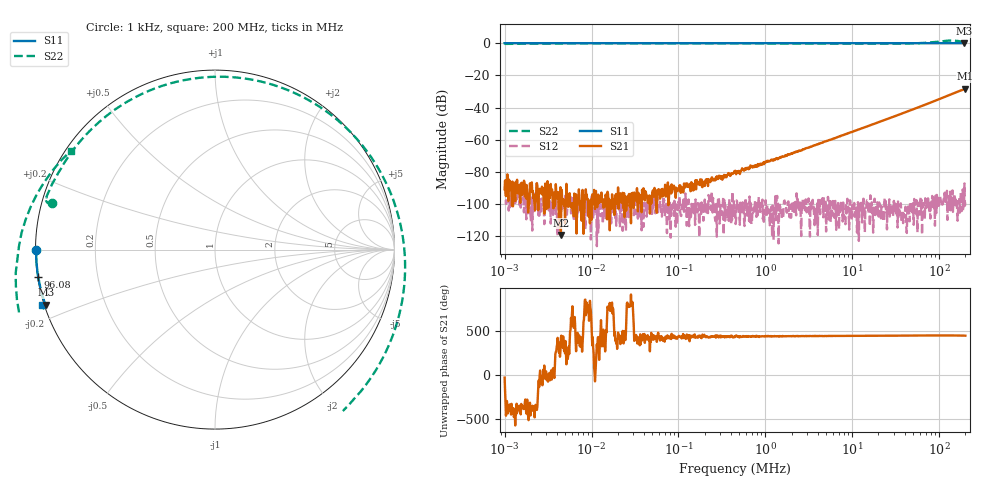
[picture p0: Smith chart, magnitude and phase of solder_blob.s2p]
! ListType=Log
# MHZ S RI R 50
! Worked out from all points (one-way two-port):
!   1000 points, 1 kHz to 200 MHz, reference 50 ohm
!   highest |S21| = -28.34 dB at 200 MHz (marker M1); lowest = -119.0 dB at 4.44 kHz (marker M2)
!   lowest |S11| = -0.1 dB at 192.8 MHz (marker M3), VSWR 204.62, Z = 0.251 - j7.95 ohm
!   |S11| at or under -10 dB: nowhere
!   |S22| runs from -0.5 to 1.7 dB; largest |S21 - S12| = 0.038
!   S11 on the Smith chart (normalised r, x): 1 kHz: 0.00, -0.00; 96.08 MHz: 0.00, -0.08; 200 MHz: -0.01, -0.16
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0.001  -0.9949 -0.000443  2.56e-05 -1.39e-05  -1.15e-05 -2.99e-05  -0.9089 0.26
0.0044399  -0.9956 -0.000335  5e-07 1e-06  7e-07 -4.3e-06  -0.9393 0.2685
0.0076941  -0.9957 -0.000228  2.5e-06 1.8e-06  -2.1e-06 8.4e-06  -0.9422 0.2759
0.0584804  -0.9957 -0.000115  -1.43e-05 2.03e-05  1.1e-06 -7.5e-06  -0.9406 0.2882
0.4499541  -0.9958 -0.000847  1.3e-05 0.000109  1.8e-06 7.1e-06  -0.9349 0.303
3.419952  -0.996 -0.00555  4.66e-05 0.000619  -1.8e-06 -7.2e-06  -0.8867 0.4028
12.03851  -0.9959 -0.0196  6.39e-05 0.00214  -7.5e-06 -3e-07  -0.7122 0.6466
26.31347  -0.9953 -0.0426  -1.64e-05 0.00461  3.6e-06 -3.5e-06  -0.3118 0.9064
40.85134  -0.9944 -0.066  -0.000164 0.00717  -9e-07 -8.3e-06  0.1693 0.9527
55.44529  -0.9928 -0.0893  -0.00039 0.0098  -3.1e-06 3.6e-06  0.6248 0.7668
65.78902  -0.9911 -0.1057  -0.000561 0.0117  6.6e-06 -6.7e-06  0.8727 0.5111
77.11445  -0.9891 -0.1236  -0.000776 0.0138  -2.6e-06 -4.5e-06  1.031 0.1486
86.07812  -0.9872 -0.1378  -0.000942 0.0155  2.9e-06 -1.01e-05  1.057 -0.1695
96.08372  -0.9848 -0.1536  -0.0011 0.0175  -3.9e-06 -1.78e-05  0.9735 -0.5216
105.9499  -0.9818 -0.1685  -0.00127 0.0195  -6.9e-06 -8.9e-06  0.7804 -0.8251
118.2654  -0.9783 -0.1885  -0.00137 0.0219  -4e-07 -1.18e-05  0.4132 -1.098
136.941  -0.9717 -0.2174  -0.00148 0.0257  -9.3e-06 -1.37e-05  -0.2718 -1.174
151.0025  -0.9659 -0.239  -0.00144 0.0286  -5.3e-06 -1.93e-05  -0.7376 -0.9479
166.5079  -0.9588 -0.2633  -0.00126 0.0317  -7e-06 -1.02e-05  -1.054 -0.491
179.1732  -0.9526 -0.2856  -0.000973 0.0344  -1.87e-05 -8.8e-06  -1.102 -0.0581
192.8018  -0.9415 -0.307  -0.000811 0.0365  1.13e-05 -8e-06  -0.9529 0.3738
200  -0.9634 -0.3107  -0.000238 0.0383  -1.29e-05 -6.6e-06  -0.8026 0.5506
